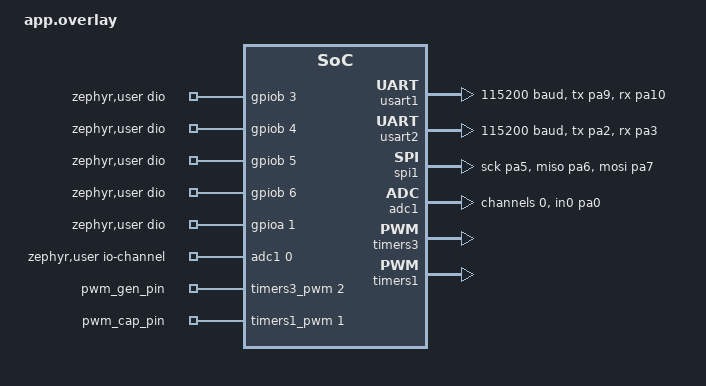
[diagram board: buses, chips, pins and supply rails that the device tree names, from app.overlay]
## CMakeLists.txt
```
cmake_minimum_required(VERSION 3.20.0)

find_package(Zephyr REQUIRED HINTS $ENV{ZEPHYR_BASE})

project(TestBench)

target_sources(app PRIVATE
    src/main.c
    src/adc_thread.c
    src/cmd_parser.c
    src/dio_thread.c
    src/pwm_thread.c
    src/spi_thread.c
    src/uart_passthru_thread.c)

target_include_directories(app PRIVATE ${CMAKE_CURRENT_SOURCE_DIR}/include)
```

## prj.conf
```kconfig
# Peripherals
CONFIG_UART_INTERRUPT_DRIVEN=y
CONFIG_ADC=y
CONFIG_ADC_STM32=y
CONFIG_PWM=y
CONFIG_PWM_STM32=y
CONFIG_PWM_CAPTURE=y
CONFIG_SPI=y
CONFIG_GPIO=y

# Pinctrl (required on STM32)
CONFIG_PINCTRL=y

# Threads / kernel
CONFIG_HEAP_MEM_POOL_SIZE=4096
CONFIG_MAIN_STACK_SIZE=2048
CONFIG_TIMESLICING=y

CONFIG_RING_BUFFER=y
```

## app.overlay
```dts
/* boards/blackpill.overlay */

/ {
    aliases {
        tb-uart   = &usart1;            /* host comms (command channel)      */
        loop-uart = &usart2;            /* UART self-loopback: PA2 TX -> PA3 RX */
        loop-spi  = &spi1;              /* SPI self-loopback: PA7 MOSI -> PA6 MISO */
        pwm-gen   = &pwm_gen_pin;       /* PWM out — TIM3 CH3 / PB0          */
        pwm-cap   = &pwm_cap_pin;       /* PWM in  — TIM1 CH1 / PA8 capture  */
    };

    /* DIO pins */
    zephyr,user {
        dio-gpios = <&gpiob 3 GPIO_ACTIVE_HIGH>, /* DIO0 = PB3 */
                    <&gpiob 4 GPIO_ACTIVE_HIGH>, /* DIO1 = PB4 */
                    <&gpiob 5 GPIO_ACTIVE_HIGH>, /* DIO2 = PB5 */
                    <&gpiob 6 GPIO_ACTIVE_HIGH>, /* DIO3 = PB6 */
                    <&gpioa 1 GPIO_ACTIVE_HIGH>; /* DIO4 = PA1 -> ADC drive (jumper PA1->PA0) */

        io-channels = <&adc1 0>;           /* PA0 = AIN0 */
    };

    pwm_out: pwm_out {
        compatible = "pwm-leds";
        pwm_gen_pin: pwm_gen_pin {
            pwms = <&timers3_pwm 2 1000000 PWM_POLARITY_NORMAL>;
            /* CH3 = index 3 (0-based), default period 1 ms */
        };
    };

    pwm_in: pwm_in {
        compatible = "pwm-leds";
        pwm_cap_pin: pwm_cap_pin {
            pwms = <&timers1_pwm 1 1000000 PWM_POLARITY_NORMAL>;
            /* CH1 = index 0 (0-based) */
        };
    };
};


/* Host comms UART */
&usart1 {
    status = "okay";
    current-speed = <115200>;
    pinctrl-0 = <&usart1_tx_pa9 &usart1_rx_pa10>;
    pinctrl-names = "default";
};

/* UART self-loopback (PA2 TX jumpered to PA3 RX) */
&usart2 {
    status = "okay";
    current-speed = <115200>;
    pinctrl-0 = <&usart2_tx_pa2 &usart2_rx_pa3>;
    pinctrl-names = "default";
};

/* SPI self-loopback (PA7 MOSI jumpered to PA6 MISO) */
&spi1 {
    status = "okay";
    pinctrl-0 = <&spi1_sck_pa5 &spi1_miso_pa6 &spi1_mosi_pa7>;
    pinctrl-names = "default";
    cs-gpios = <&gpioa 4 GPIO_ACTIVE_LOW>;
};

/* ADC */
&adc1 {
    status = "okay";
    #address-cells = <1>;
    #size-cells = <0>;
    pinctrl-0 = <&adc1_in0_pa0>;
    pinctrl-names = "default";

    channel@0 {
        reg = <0>;
        zephyr,gain = "ADC_GAIN_1";
        zephyr,reference = "ADC_REF_VDD_1"; 
        zephyr,vref-mv = <3300>;
        zephyr,acquisition-time = <ADC_ACQ_TIME_DEFAULT>;
        zephyr,input-positive = <0>; 
        zephyr,resolution = <12>;
    };
};

/* TIM3 CH3 drives PB0 for PWM output */
&timers3 {
    status = "okay";
    st,prescaler = <99>;   /* 100 MHz / 100 = 1 MHz tick */

    timers3_pwm: pwm {
        status = "okay";
        pinctrl-0 = <&tim3_ch3_pb0>;
        pinctrl-names = "default";
    };
};

/* TIM1 CH1 on PA8 captures the incoming PWM for CMD:PWM_GET */
&timers1 {
    status = "okay";
    st,prescaler = <99>;   /* 1 MHz tick — matches the output timer */

    timers1_pwm: pwm {
        status = "okay";
        pinctrl-0 = <&tim1_ch1_pa8>;
        pinctrl-names = "default";
        four-channel-capture-support;
    };
};
```

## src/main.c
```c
#include <zephyr/kernel.h>
#include <zephyr/device.h>
#include <zephyr/drivers/uart.h>
#include "../include/cmd_parser.h"
#include "../include/dio_thread.h"
#include "../include/adc_thread.h"
#include "../include/pwm_thread.h"
#include "../include/uart_passthru_thread.h"
#include "../include/spi_thread.h"

/* Pending commands, one per thread, single-slot mailbox pattern */
cmd_t dio_cmd;
cmd_t adc_cmd;
cmd_t pwm_cmd;
cmd_t uart_pass_cmd;
cmd_t spi_cmd;

/* Message queues */
K_MSGQ_DEFINE(cmd_q, sizeof(cmd_t), 16, 4); /* 16 commands max, 4 bytes align */
K_MSGQ_DEFINE(result_q, sizeof(char[64]), 16, 4);

/* Semaphores, one per peripheral thread */
K_SEM_DEFINE(dio_sem, 0, 1);
K_SEM_DEFINE(adc_sem, 0, 1);
K_SEM_DEFINE(pwm_sem, 0, 1);
K_SEM_DEFINE(uart_pass_sem, 0, 1);
K_SEM_DEFINE(spi_sem, 0, 1);

/* Stack sizes */
#define STACK_SIZE 1024
K_THREAD_STACK_DEFINE(rx_stack, STACK_SIZE);
K_THREAD_STACK_DEFINE(tx_stack, STACK_SIZE);
K_THREAD_STACK_DEFINE(dio_stack, STACK_SIZE);
K_THREAD_STACK_DEFINE(adc_stack, STACK_SIZE);
K_THREAD_STACK_DEFINE(pwm_stack, STACK_SIZE);
K_THREAD_STACK_DEFINE(spi_stack, STACK_SIZE);
K_THREAD_STACK_DEFINE(dispatch_stack, STACK_SIZE);
K_THREAD_STACK_DEFINE(uart_pass_stack, STACK_SIZE);

static struct k_thread rx_tid, dispatch_tid, dio_tid, adc_tid, pwm_tid,
                        uart_pass_tid, spi_tid, tx_tid;

/* forward declarations */
void cmd_rx_thread(void *a, void *b, void *c);
void result_tx_thread(void *a, void *b, void *c);
void cmd_dispatch_thread(void *a, void *b, void *c);

int main(void)
{
    k_thread_create(&rx_tid,       rx_stack,       STACK_SIZE, cmd_rx_thread,       NULL, NULL, NULL, 3, 0, K_NO_WAIT);
    k_thread_create(&dispatch_tid, dispatch_stack,  STACK_SIZE, cmd_dispatch_thread, NULL, NULL, NULL, 3, 0, K_NO_WAIT);
    k_thread_create(&dio_tid,      dio_stack,       STACK_SIZE, dio_thread,          NULL, NULL, NULL, 4, 0, K_NO_WAIT);
    k_thread_create(&adc_tid,      adc_stack,       STACK_SIZE, adc_thread,          NULL, NULL, NULL, 4, 0, K_NO_WAIT);
    k_thread_create(&pwm_tid,      pwm_stack,       STACK_SIZE, pwm_thread,          NULL, NULL, NULL, 4, 0, K_NO_WAIT);
    k_thread_create(&uart_pass_tid, uart_pass_stack, STACK_SIZE, uart_passthru_thread, NULL, NULL, NULL, 4, 0, K_NO_WAIT);
    k_thread_create(&spi_tid,      spi_stack,       STACK_SIZE, spi_thread,          NULL, NULL, NULL, 4, 0, K_NO_WAIT);
    k_thread_create(&tx_tid,       tx_stack,        STACK_SIZE, result_tx_thread,    NULL, NULL, NULL, 3, 0, K_NO_WAIT);
    return 0;
}

/* UART RX interrupt driven */
static const struct device *host_uart = DEVICE_DT_GET(DT_ALIAS(tb_uart));

static char rx_line[128];
static int rx_pos;

static void uart_cb(const struct device *dev, void *user_data)
{
    uint8_t c;
    if (!uart_irq_update(dev) || !uart_irq_rx_ready(dev))
        return;
    while (uart_fifo_read(dev, &c, 1) == 1)
    {
        if (c == '\n')
        {
            rx_line[rx_pos] = '\0';
            cmd_t cmd;
            if (cmd_parse(rx_line, &cmd) == 0)
                k_msgq_put(&cmd_q, &cmd, K_NO_WAIT);
            rx_pos = 0;
        }
        else if (rx_pos < (int)sizeof(rx_line) - 1)
        {
            rx_line[rx_pos++] = c;
        }
    }
}

void result_tx_thread(void *a, void *b, void *c)
{
    char r[64];
    while (1)
    {
        k_msgq_get(&result_q, &r, K_FOREVER);
        for (char *p = r; *p; p++)
            uart_poll_out(host_uart, *p);
    }
}

void cmd_rx_thread(void *a, void *b, void *c)
{
    uart_irq_callback_set(host_uart, uart_cb);
    uart_irq_rx_enable(host_uart);
    while (1)
        k_sleep(K_FOREVER);
}

/* Dispatch thread */
void cmd_dispatch_thread(void *a, void *b, void *c)
{
    cmd_t cmd;
    while (1)
    {
        k_msgq_get(&cmd_q, &cmd, K_FOREVER);
        switch (cmd.type)
        {
        case CMD_DIO_SET:
        case CMD_DIO_GET:
            dio_cmd = cmd;
            k_sem_give(&dio_sem);
            break;
        case CMD_ADC_READ:
            adc_cmd = cmd;
            k_sem_give(&adc_sem);
            break;
        case CMD_PWM_SET:
        case CMD_PWM_GET:
            pwm_cmd = cmd;
            k_sem_give(&pwm_sem);
            break;
        case CMD_UART_SEND:
        case CMD_UART_RECV:
            uart_pass_cmd = cmd;
            k_sem_give(&uart_pass_sem);
            break;
        case CMD_SPI_XFER:
            spi_cmd = cmd;
            k_sem_give(&spi_sem);
            break;
        default:
        {
            char r[64];
            snprintf(r, sizeof(r), "ERR:UNKNOWN\n");
            k_msgq_put(&result_q, r, K_NO_WAIT);
        }
        }
    }
}
```

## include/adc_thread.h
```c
#ifndef ADC_THREAD_H
#define ADC_THREAD_H

#include <zephyr/kernel.h>
#include "cmd_parser.h"

extern struct k_sem  adc_sem;
extern cmd_t         adc_cmd;
extern struct k_msgq result_q;

void adc_thread(void *a, void *b, void *c);

#endif
```

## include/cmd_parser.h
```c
#ifndef CMD_PARSER_H
#define CMD_PARSER_H

#include <zephyr/sys/util.h>
#include <string.h>
#include <stdio.h>
#include <stdlib.h>

typedef enum {
    CMD_DIO_SET,
    CMD_DIO_GET,
    CMD_ADC_READ,
    CMD_PWM_SET,
    CMD_PWM_GET,
    CMD_UART_SEND,
    CMD_UART_RECV,
    CMD_SPI_XFER,
    CMD_UNKNOWN
} cmd_type_t;

typedef struct {
    cmd_type_t type;
    char args[5][32];
    int argc;
} cmd_t;

int cmd_parse(const char *line, cmd_t *out);
#endif
```

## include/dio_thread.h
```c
#ifndef DIO_THREAD_H
#define DIO_THREAD_H

#include <zephyr/kernel.h>
#include "cmd_parser.h"

extern struct k_sem  dio_sem;
extern cmd_t         dio_cmd;
extern struct k_msgq result_q;

void dio_thread(void *a, void *b, void *c);

#endif
```

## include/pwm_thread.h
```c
#ifndef PWM_THREAD_H
#define PWM_THREAD_H

#include <zephyr/kernel.h>
#include "cmd_parser.h"

extern struct k_sem  pwm_sem;
extern cmd_t         pwm_cmd;
extern struct k_msgq result_q;

void pwm_thread(void *a, void *b, void *c);

#endif
```

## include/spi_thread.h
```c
#ifndef SPI_THREAD_H
#define SPI_THREAD_H

#include <zephyr/kernel.h>
#include "cmd_parser.h"

extern struct k_sem  spi_sem;
extern cmd_t         spi_cmd;
extern struct k_msgq result_q;

void spi_thread(void *a, void *b, void *c);

#endif
```

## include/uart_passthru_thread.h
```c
#ifndef UART_PASSTHRU_THREAD_H
#define UART_PASSTHRU_THREAD_H

#include <zephyr/kernel.h>
#include <zephyr/drivers/uart.h>
#include "cmd_parser.h"

extern struct k_sem  uart_pass_sem;
extern cmd_t         uart_pass_cmd;
extern struct k_msgq result_q;

void uart_passthru_thread(void *a, void *b, void *c);
#endif
```

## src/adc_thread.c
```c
#include <zephyr/drivers/adc.h>
#include "../include/adc_thread.h"

static const struct adc_dt_spec adc_ch =
    ADC_DT_SPEC_GET_BY_IDX(DT_PATH(zephyr_user), 0);

void adc_thread(void *a, void *b, void *c)
{
    adc_channel_setup_dt(&adc_ch);

    int16_t buf;
    struct adc_sequence seq = {
        .buffer      = &buf,
        .buffer_size = sizeof(buf),
    };
    adc_sequence_init_dt(&adc_ch, &seq);

    char result[64];

    while (1) {
        k_sem_take(&adc_sem, K_FOREVER);
        adc_read(adc_ch.dev, &seq);
        int32_t mv = buf;
        adc_raw_to_millivolts_dt(&adc_ch, &mv);
        snprintf(result, sizeof(result), "OK:ADC_READ:%d\n", (int)mv);
        k_msgq_put(&result_q, result, K_NO_WAIT);
    }
}
```

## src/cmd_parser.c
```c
#include "../include/cmd_parser.h"

static const struct
{
    const char *str;
    cmd_type_t type;
} map[] = {
    {"DIO_SET",   CMD_DIO_SET},
    {"DIO_GET",   CMD_DIO_GET},
    {"ADC_READ",  CMD_ADC_READ},
    {"PWM_SET",   CMD_PWM_SET},
    {"PWM_GET",   CMD_PWM_GET},
    {"UART_SEND", CMD_UART_SEND},
    {"UART_RECV", CMD_UART_RECV},
    {"SPI_XFER",  CMD_SPI_XFER},
};

int cmd_parse(const char *line, cmd_t *out)
{
    char buf[128];
    strncpy(buf, line, sizeof(buf) - 1);
    buf[sizeof(buf) - 1] = '\0';

    char *tok = strtok(buf, ":");
    if (!tok || strcmp(tok, "CMD") != 0)
        return -1;

    tok = strtok(NULL, ":");
    if (!tok)
        return -1;

    out->type = CMD_UNKNOWN;
    for (size_t i = 0; i < ARRAY_SIZE(map); i++)
    {
        if (strcmp(tok, map[i].str) == 0)
        {
            out->type = map[i].type;
            break;
        }
    }

    out->argc = 0;
    while ((tok = strtok(NULL, ":")) && out->argc < 5)
    {
        strncpy(out->args[out->argc], tok, 31);
        out->args[out->argc][31] = '\0';
        out->argc++;
    }

    return (out->type == CMD_UNKNOWN) ? -1 : 0;
}
```

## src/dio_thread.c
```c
/* src/dio_thread.c */
#include <zephyr/kernel.h>
#include <zephyr/drivers/gpio.h>
#include <zephyr/devicetree.h>
#include "../include/dio_thread.h"

#define ZEPHYR_USER_NODE DT_PATH(zephyr_user)

static const struct gpio_dt_spec dios[] = {
    DT_FOREACH_PROP_ELEM_SEP(
        ZEPHYR_USER_NODE, dio_gpios,
        GPIO_DT_SPEC_GET_BY_IDX,
        (,)
    )
};

#define DIO_PIN_COUNT ARRAY_SIZE(dios)

void dio_thread(void *a, void *b, void *c)
{
    /* Boot all as inputs */
    for (int i = 0; i < DIO_PIN_COUNT; i++) {
        gpio_pin_configure_dt(&dios[i], GPIO_INPUT);
    }

    char result[64];

    while (1) {
        k_sem_take(&dio_sem, K_FOREVER);

        int pin = atoi(dio_cmd.args[0]);
        if (pin < 0 || pin >= (int)DIO_PIN_COUNT) {
            snprintf(result, sizeof(result), "ERR:DIO:BAD_PIN\n");
            k_msgq_put(&result_q, result, K_NO_WAIT);
            continue;
        }

        if (dio_cmd.type == CMD_DIO_SET) {
            int val = atoi(dio_cmd.args[1]);
            gpio_pin_configure_dt(&dios[pin], GPIO_OUTPUT_INACTIVE);
            gpio_pin_set_dt(&dios[pin], val);
            snprintf(result, sizeof(result), "OK:DIO_SET:%d:%d\n", pin, val);
        } else {
            gpio_pin_configure_dt(&dios[pin], GPIO_INPUT);
            int v = gpio_pin_get_dt(&dios[pin]);
            snprintf(result, sizeof(result), "OK:DIO_GET:%d:%d\n", pin, v);
        }

        k_msgq_put(&result_q, result, K_NO_WAIT);
    }
}
```

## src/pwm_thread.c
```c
#include "../include/pwm_thread.h"
#include <zephyr/drivers/pwm.h>
#include <zephyr/kernel.h>

static const struct pwm_dt_spec pwm_out = PWM_DT_SPEC_GET(DT_ALIAS(pwm_gen));

static const struct pwm_dt_spec pwm_in = PWM_DT_SPEC_GET(DT_ALIAS(pwm_cap));

void pwm_thread(void *a, void *b, void *c) {
  if (!pwm_is_ready_dt(&pwm_out)) {
    /* hang — misconfigured overlay */
    k_sleep(K_FOREVER);
  }

  char result[64];

  while (1) {
    k_sem_take(&pwm_sem, K_FOREVER);

    switch (pwm_cmd.type) {

    case CMD_PWM_SET: {
      /* CMD:PWM_SET:<period_ns>:<pulse_ns>
       * e.g. CMD:PWM_SET:1000000:500000  -> 1 kHz, 50 % */
      uint32_t period_ns = (uint32_t)atoi(pwm_cmd.args[0]);
      uint32_t pulse_ns = (uint32_t)atoi(pwm_cmd.args[1]);

      int rc = pwm_set_dt(&pwm_out, period_ns, pulse_ns);
      if (rc == 0) {
        snprintf(result, sizeof(result), "OK:PWM_SET:%u:%u\n", period_ns,
                 pulse_ns);
      } else {
        snprintf(result, sizeof(result), "ERR:PWM_SET:%d\n", rc);
      }
      break;
    }

    case CMD_PWM_GET: {
      /* CMD:PWM_GET -> OK:PWM_GET:<period_ns>:<pulse_ns> */
      uint64_t period = 0, pulse = 0;
      int rc = pwm_capture_nsec(pwm_in.dev, pwm_in.channel,
                                PWM_CAPTURE_TYPE_BOTH | PWM_CAPTURE_MODE_SINGLE,
                                &period, &pulse, K_MSEC(100));

      if (rc == 0) {
        snprintf(result, sizeof(result), "OK:PWM_GET:%u:%u\n", (uint32_t)period,
                 (uint32_t)pulse);
      } else {
        /* -EAGAIN on timeout (no edges seen), etc. */
        snprintf(result, sizeof(result), "ERR:PWM_GET:%d\n", rc);
      }
      break;
    }

    default:
      snprintf(result, sizeof(result), "ERR:PWM:UNSUPPORTED\n");
      break;
    }

    k_msgq_put(&result_q, result, K_NO_WAIT);
  }
}
```

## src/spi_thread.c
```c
#include <zephyr/drivers/spi.h>
#include "../include/spi_thread.h"

static const struct device *spi_dev = DEVICE_DT_GET(DT_ALIAS(loop_spi));

static struct spi_config spi_cfg = {
    .frequency = 1000000,
    .operation = SPI_WORD_SET(8) | SPI_TRANSFER_MSB};

void spi_thread(void *a, void *b, void *c)
{
    char result[64];

    while (1)
    {
        k_sem_take(&spi_sem, K_FOREVER);

        /* Copy args[0] to a local buffer before strtok modifies it */
        char argbuf[32];
        strncpy(argbuf, spi_cmd.args[0], sizeof(argbuf) - 1);
        argbuf[sizeof(argbuf) - 1] = '\0';

        uint8_t tx[16] = {0};
        uint8_t rx[16] = {0};
        int n = 0;

        char *tok = strtok(argbuf, " ");
        while (tok && n < 16)
        {
            tx[n++] = (uint8_t)strtol(tok, NULL, 16);
            tok = strtok(NULL, " ");
        }

        struct spi_buf tb  = {.buf = tx, .len = n};
        struct spi_buf rb  = {.buf = rx, .len = n};
        struct spi_buf_set tbs = {.buffers = &tb, .count = 1};
        struct spi_buf_set rbs = {.buffers = &rb, .count = 1};

        spi_transceive(spi_dev, &spi_cfg, &tbs, &rbs);

        /* Build hex string with a properly bounded snprintf */
        char hex[48] = {0};
        int pos = 0;
        for (int i = 0; i < n; i++)
        {
            pos += snprintf(hex + pos, sizeof(hex) - pos, "%02X", rx[i]);
        }

        snprintf(result, sizeof(result), "OK:SPI_XFER:%s\n", hex);
        k_msgq_put(&result_q, result, K_NO_WAIT);
    }
}
```

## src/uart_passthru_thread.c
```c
#include "../include/uart_passthru_thread.h"

#include <zephyr/sys/ring_buffer.h>
#include <string.h>

static const struct device *loop_uart = DEVICE_DT_GET(DT_ALIAS(loop_uart));

#define LOOP_RX_BUF_SIZE 128
RING_BUF_DECLARE(loop_rx_rb, LOOP_RX_BUF_SIZE);

static void loop_uart_rx_cb(const struct device *dev, void *user_data)
{
    (void)user_data;

    if (!uart_irq_update(dev) || !uart_irq_rx_ready(dev))
        return;

    uint8_t c;
    while (uart_fifo_read(dev, &c, 1) == 1)
        ring_buf_put(&loop_rx_rb, &c, 1);
}

void uart_passthru_thread(void *a, void *b, void *c)
{
    /* Register ISR and enable RX interrupts on the loopback UART once at startup */
    uart_irq_callback_user_data_set(loop_uart, loop_uart_rx_cb, NULL);
    uart_irq_rx_enable(loop_uart);

    char result[64];

    while (1)
    {
        k_sem_take(&uart_pass_sem, K_FOREVER);

        if (uart_pass_cmd.type == CMD_UART_SEND)
        {
            /* Flush stale bytes from previous transactions */
            ring_buf_reset(&loop_rx_rb);

            const char *msg = uart_pass_cmd.args[0];
            for (const char *p = msg; *p; p++)
                uart_poll_out(loop_uart, *p);
            uart_poll_out(loop_uart, '\n');

            snprintf(result, sizeof(result), "OK:UART_SEND\n");
            k_msgq_put(&result_q, result, K_NO_WAIT);
        }
        else if (uart_pass_cmd.type == CMD_UART_RECV)
        {
            char rbuf[48] = {0};
            int i = 0;
            int64_t deadline = k_uptime_get() + 300; /* 300 ms window */

            while (i < (int)(sizeof(rbuf) - 1) && k_uptime_get() < deadline)
            {
                uint8_t ch;
                if (ring_buf_get(&loop_rx_rb, &ch, 1) == 1)
                {
                    if (ch == '\n' || ch == '\r')
                    {
                        if (i > 0)
                            break; /* complete line received */
                        continue;  /* skip leading newlines */
                    }
                    rbuf[i++] = (char)ch;
                }
                else
                {
                    k_sleep(K_MSEC(1));
                }
            }

            snprintf(result, sizeof(result), "OK:UART_RECV:%s\n", rbuf);
            k_msgq_put(&result_q, result, K_NO_WAIT);
        }
    }
}
```
